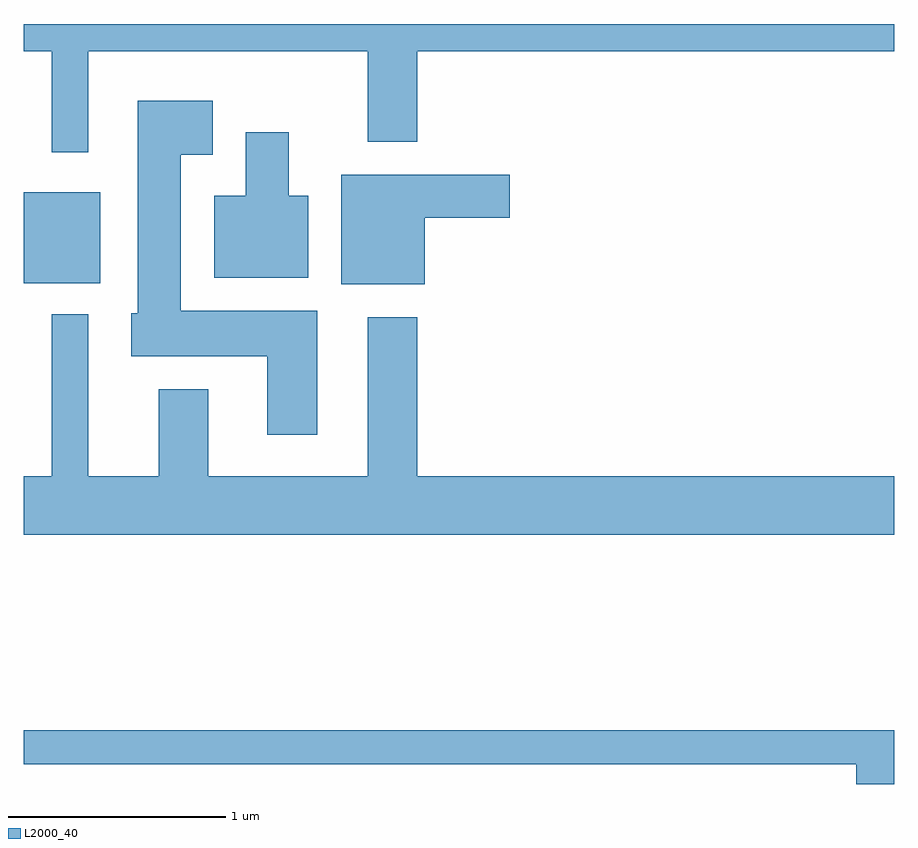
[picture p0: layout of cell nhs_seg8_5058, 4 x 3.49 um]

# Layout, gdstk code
import gdstk
lib = gdstk.Library(unit=1e-6, precision=1e-09)
def R(c, l, rs):  # rectangles x0, y0, x1, y1
    for r in rs: c.add(gdstk.rectangle(r[:2], r[2:], *l))
def P(c, l, *ps):  # polygons
    for p in ps: c.add(gdstk.Polygon(p, *l))
L2000_40 = (2000, 40)

nhs_seg8_5058 = lib.new_cell('nhs_seg8_5058')
R(nhs_seg8_5058, L2000_40, [(337.611,1813.151,337.964,1813.569)])
P(nhs_seg8_5058, L2000_40, [(337.909,1814.216),(339.191,1814.216),(339.191,1813.801),(339.419,1813.801),(339.419,1814.216),(341.611,1814.216),(341.611,1814.342),(337.611,1814.342),(337.611,1814.216),(337.741,1814.216),(337.741,1813.753),(337.909,1813.753)],
  [(338.959,1813.024),(338.334,1813.024),(338.334,1813.741),(338.479,1813.741),(338.479,1813.989),(338.136,1813.989),(338.136,1813.014),(338.106,1813.014),(338.106,1812.816),(338.731,1812.816),(338.731,1812.456),(338.959,1812.456)],
  [(338.919,1813.554),(338.829,1813.554),(338.829,1813.844),(338.631,1813.844),(338.631,1813.554),(338.486,1813.554),(338.486,1813.176),(338.919,1813.176)],
  [(339.454,1813.451),(339.844,1813.451),(339.844,1813.649),(339.071,1813.649),(339.071,1813.146),(339.454,1813.146)],
  [(341.611,1812.264),(339.419,1812.264),(339.419,1812.994),(339.191,1812.994),(339.191,1812.264),(338.459,1812.264),(338.459,1812.664),(338.231,1812.664),(338.231,1812.264),(337.909,1812.264),(337.909,1813.008),(337.741,1813.008),(337.741,1812.264),(337.611,1812.264),(337.611,1811.996),(341.611,1811.996)],
  [(341.611,1811.099),(337.611,1811.099),(337.611,1810.941),(341.436,1810.941),(341.436,1810.851),(341.611,1810.851)])

lib.write_gds('nhs_seg8_5058.gds')
